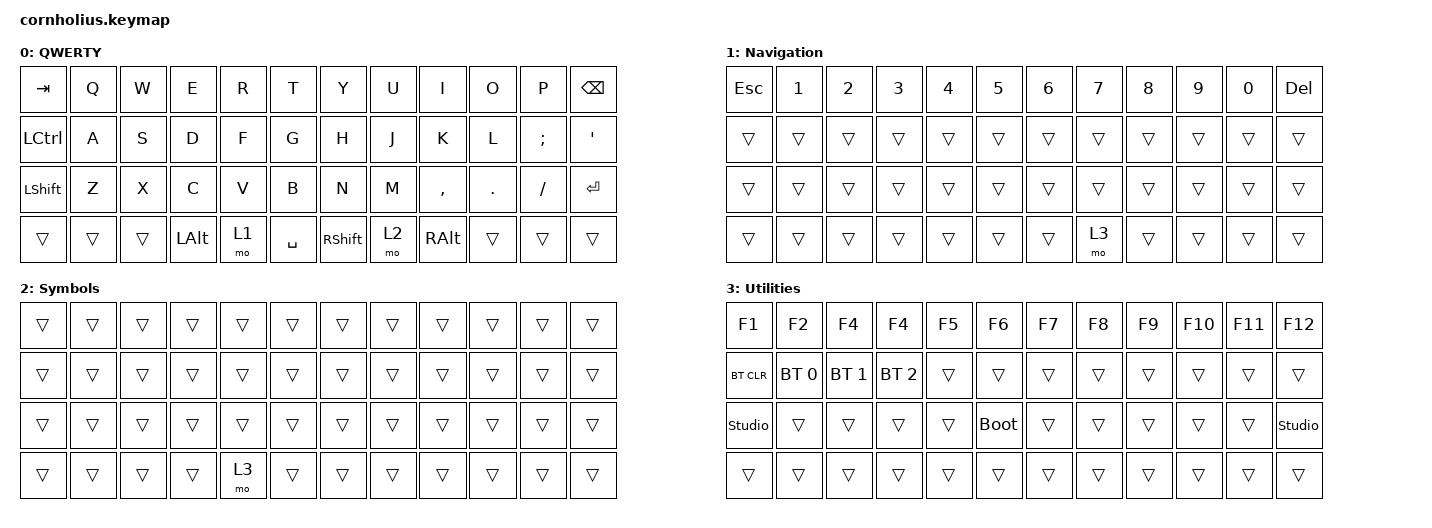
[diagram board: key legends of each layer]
/*
 * Copyright (c) 2022 The ZMK Contributors
 *
 * SPDX-License-Identifier: MIT
 */

#include <behaviors.dtsi>
#include <dt-bindings/zmk/keys.h>
#include <dt-bindings/zmk/bt.h>
#include <dt-bindings/zmk/outputs.h>

/ {
	keymap {
		compatible = "zmk,keymap";

		default_layer {
			display-name = "QWERTY";
			bindings = <
    &kp TAB			&kp Q			&kp W			&kp E			&kp R			&kp T		/**/		&kp Y			&kp U			&kp I			&kp O			&kp P			&kp BSPC
	&kp LCTRL		&kp A			&kp S			&kp D			&kp F			&kp G		/**/		&kp H			&kp J			&kp K			&kp L			&kp SEMI		&kp SQT
	&kp LSHFT		&kp Z			&kp X			&kp C			&kp V			&kp B		/**/		&kp N			&kp M			&kp COMMA		&kp DOT			&kp SLASH		&kp ENTER
	&trans			&trans			&trans			&kp LALT		&mo 1			&kp SPACE	/**/		&kp RSHFT		&mo 2			&kp RALT		&trans			&trans			&trans
    
			>;
		};

		nav_layer {
			display-name = "Navigation";
			bindings = <
	&kp ESC			&kp N1			&kp N2			&kp N3			&kp N4			&kp N5		/**/		&kp N6			&kp N7			&kp N8			&kp N9			&kp N0			&kp DEL
	&trans			&trans			&trans			&trans			&trans			&trans		/**/		&trans			&trans			&trans			&trans			&trans			&trans
	&trans			&trans			&trans			&trans			&trans			&trans		/**/		&trans			&trans			&trans			&trans			&trans			&trans
	&trans			&trans			&trans			&trans			&trans			&trans		/**/		&trans			&mo 3			&trans			&trans			&trans			&trans
			>;
		};

		symbol_layer {
			display-name = "Symbols";
			bindings = <
	&trans			&trans			&trans			&trans			&trans			&trans		/**/		&trans			&trans			&trans			&trans			&trans			&trans
	&trans			&trans			&trans			&trans			&trans			&trans		/**/		&trans			&trans			&trans			&trans			&trans			&trans
	&trans			&trans			&trans			&trans			&trans			&trans		/**/		&trans			&trans			&trans			&trans			&trans			&trans
	&trans			&trans			&trans			&trans			&mo 3			&trans		/**/		&trans			&trans			&trans			&trans			&trans			&trans
			>;
		};

		F_layer {
			display-name = "Utilities";
			bindings = <
	&kp F1			&kp F2			&kp F4			&kp F4			&kp F5			&kp F6		/**/		&kp F7			&kp F8			&kp F9			&kp F10			&kp F11			&kp F12
	&bt BT_CLR		&bt BT_SEL 0	&bt BT_SEL 1	&bt BT_SEL 2	&trans			&trans		/**/		&trans			&trans			&trans			&trans			&trans			&trans
	&studio_unlock	&trans			&trans			&trans			&trans			&bootloader	/**/		&trans			&trans			&trans			&trans			&trans			&studio_unlock
	&trans			&trans			&trans			&trans			&trans			&trans		/**/		&trans			&trans			&trans			&trans			&trans			&trans
			>;
		};
	};
};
